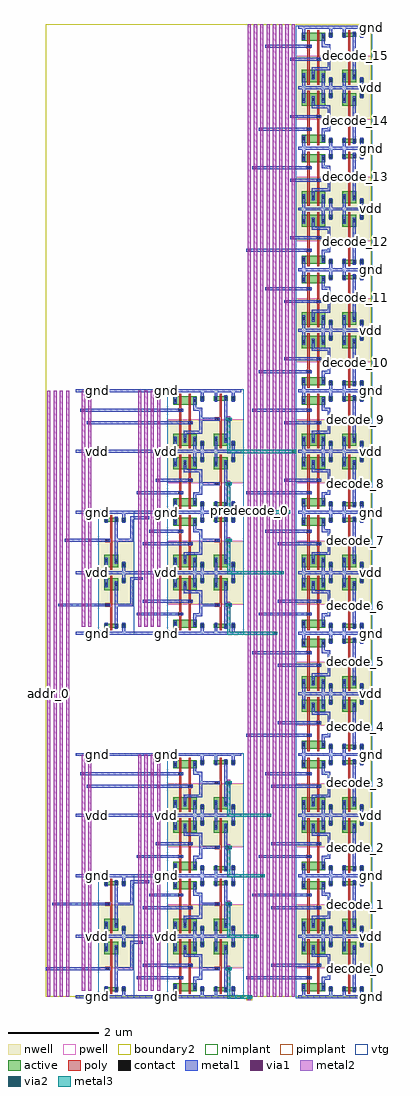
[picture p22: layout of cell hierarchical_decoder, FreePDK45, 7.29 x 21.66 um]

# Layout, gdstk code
import gdstk
lib = gdstk.Library(unit=1e-6, precision=5e-10)
def R(c, l, rs):  # rectangles x0, y0, x1, y1
    for r in rs: c.add(gdstk.rectangle(r[:2], r[2:], *l))
def A(c, l, x, y, w, h, nx, ny, dx, dy):  # array of equal rectangles
    R(c, l, [(x+i*dx, y+j*dy, x+i*dx+w, y+j*dy+h) for i in range(nx) for j in range(ny)])
active = (1, 0)
pwell = (2, 0)
nwell = (3, 0)
nimplant = (4, 0)
pimplant = (5, 0)
vtg = (6, 0)
poly = (9, 0)
contact = (10, 0)
metal1 = (11, 0)
via1 = (12, 0)
metal2 = (13, 0)
via2 = (14, 0)
metal3 = (15, 0)
boundary2 = (239, 0)

contact_11 = lib.new_cell('contact_11')
R(contact_11, active, [(0,0.0225,0.09,0.1125)])
R(contact_11, nwell, [(-0.055,-0.0325,0.145,0.1675)])
R(contact_11, pimplant, [(0,0.0225,0.09,0.1125)])
R(contact_11, contact, [(0.0125,0.035,0.0775,0.1)])
R(contact_11, metal1, [(0.0125,0,0.0775,0.135)])
R(contact_11, boundary2, [(-0.055,-0.0325,0.145,0.1675)])

pmos_m1_w0_270_sm1_dm1_d = lib.new_cell('pmos_m1_w0_270_sm1_dm1_da_p')
R(pmos_m1_w0_270_sm1_dm1_d, active, [(0,0,0.305,0.27)])
R(pmos_m1_w0_270_sm1_dm1_d, nwell, [(-0.08,-0.08,0.385,0.35)])
R(pmos_m1_w0_270_sm1_dm1_d, pimplant, [(0,0,0.305,0.27)])
R(pmos_m1_w0_270_sm1_dm1_d, vtg, [(-0.08,-0.08,0.385,0.35)])
R(pmos_m1_w0_270_sm1_dm1_d, poly, [(0.1275,-0.055,0.1775,0.325), (0.1275,-0.055,0.1775,0.325)])
R(pmos_m1_w0_270_sm1_dm1_d, metal1, [(0.0125,0.0675,0.0775,0.2025), (0.2275,0.0675,0.2925,0.2025)])
R(pmos_m1_w0_270_sm1_dm1_d, boundary2, [(-0.08,-0.08,0.385,0.35)])
pmos_m1_w0_270_sm1_dm1_d.add(gdstk.Reference(contact_11, (0,0.0675)))
pmos_m1_w0_270_sm1_dm1_d.add(gdstk.Reference(contact_11, (0.215,0.0675)))
pmos_m1_w0_270_sm1_dm1_d.add(gdstk.Label('G', (0.1525,0.135), layer=9, texttype=0))
pmos_m1_w0_270_sm1_dm1_d.add(gdstk.Label('S', (0.045,0.135), layer=11, texttype=0))
pmos_m1_w0_270_sm1_dm1_d.add(gdstk.Label('D', (0.26,0.135), layer=11, texttype=0))

contact_10 = lib.new_cell('contact_10')
R(contact_10, active, [(0,0.0225,0.09,0.1125)])
R(contact_10, pwell, [(-0.055,-0.0325,0.145,0.1675)])
R(contact_10, nimplant, [(0,0.0225,0.09,0.1125)])
R(contact_10, contact, [(0.0125,0.035,0.0775,0.1)])
R(contact_10, metal1, [(0.0125,0,0.0775,0.135)])
R(contact_10, boundary2, [(-0.055,-0.0325,0.145,0.1675)])

nmos_m1_w0_090_sm1_dm1_d = lib.new_cell('nmos_m1_w0_090_sm1_dm1_da_p')
R(nmos_m1_w0_090_sm1_dm1_d, active, [(0,0,0.305,0.09)])
R(nmos_m1_w0_090_sm1_dm1_d, pwell, [(-0.08,-0.08,0.385,0.17)])
R(nmos_m1_w0_090_sm1_dm1_d, nimplant, [(0,0,0.305,0.09)])
R(nmos_m1_w0_090_sm1_dm1_d, vtg, [(-0.08,-0.08,0.385,0.17)])
R(nmos_m1_w0_090_sm1_dm1_d, poly, [(0.1275,-0.055,0.1775,0.145), (0.1275,-0.055,0.1775,0.145)])
R(nmos_m1_w0_090_sm1_dm1_d, metal1, [(0.0125,-0.0225,0.0775,0.1125), (0.2275,-0.0225,0.2925,0.1125)])
R(nmos_m1_w0_090_sm1_dm1_d, boundary2, [(-0.08,-0.08,0.385,0.17)])
nmos_m1_w0_090_sm1_dm1_d.add(gdstk.Reference(contact_10, (0,-0.0225)))
nmos_m1_w0_090_sm1_dm1_d.add(gdstk.Reference(contact_10, (0.215,-0.0225)))
nmos_m1_w0_090_sm1_dm1_d.add(gdstk.Label('G', (0.1525,0.045), layer=9, texttype=0))
nmos_m1_w0_090_sm1_dm1_d.add(gdstk.Label('S', (0.045,0.045), layer=11, texttype=0))
nmos_m1_w0_090_sm1_dm1_d.add(gdstk.Label('D', (0.26,0.045), layer=11, texttype=0))

contact_12 = lib.new_cell('contact_12')
R(contact_12, active, [(0,0.0225,0.09,0.1125)])
R(contact_12, nwell, [(-0.055,-0.0325,0.145,0.1675)])
R(contact_12, nimplant, [(0,0.0225,0.09,0.1125)])
R(contact_12, contact, [(0.0125,0.035,0.0775,0.1)])
R(contact_12, metal1, [(0.0125,0,0.0775,0.135)])
R(contact_12, boundary2, [(-0.055,-0.0325,0.145,0.1675)])

contact_13 = lib.new_cell('contact_13')
R(contact_13, active, [(0,0.0225,0.09,0.1125)])
R(contact_13, pwell, [(-0.055,-0.0325,0.145,0.1675)])
R(contact_13, pimplant, [(0,0.0225,0.09,0.1125)])
R(contact_13, contact, [(0.0125,0.035,0.0775,0.1)])
R(contact_13, metal1, [(0.0125,0,0.0775,0.135)])
R(contact_13, boundary2, [(-0.055,-0.0325,0.145,0.1675)])

contact_14 = lib.new_cell('contact_14')
R(contact_14, poly, [(0.03,0,0.105,0.075)])
R(contact_14, contact, [(0.035,0.005,0.1,0.07)])
R(contact_14, metal1, [(0,0.005,0.135,0.07)])
R(contact_14, boundary2, [(0,0,0.135,0.075)])

pinv = lib.new_cell('pinv')
R(pinv, pwell, [(-0.055,-0.0325,0.7425,0.645)])
R(pinv, nwell, [(-0.055,0.645,0.7425,1.38)])
R(pinv, vtg, [(-0.055,-0.0325,0.7425,0.645), (-0.055,0.645,0.7425,1.38)])
R(pinv, poly, [(0.2075,0.27,0.2575,0.895), (0.14,0.59,0.2075,0.665)])
R(pinv, metal1, [(0,-0.0325,0.6875,0.0325), (0.0925,-0.0325,0.1575,0.1025), (0.4775,0,0.5425,0.17), (0.3075,0.1025,0.3725,1.1525), (0.0725,0.595,0.2075,0.66), (0.34,0.595,0.405,0.66), (0.0925,1.0175,0.1575,1.3775), (0.4775,1.175,0.5425,1.345), (0,1.3125,0.6875,1.3775)])
R(pinv, boundary2, [(0,0,0.6875,1.345), (0,0,0.6875,1.345)])
pinv.add(gdstk.Reference(pmos_m1_w0_270_sm1_dm1_d, (0.08,0.95)))
pinv.add(gdstk.Reference(nmos_m1_w0_090_sm1_dm1_d, (0.08,0.125)))
pinv.add(gdstk.Reference(contact_12, (0.465,1.1075)))
pinv.add(gdstk.Reference(contact_13, (0.465,0.1025)))
pinv.add(gdstk.Reference(contact_14, (0.0725,0.59)))
pinv.add(gdstk.Label('A', (0.14,0.6275), layer=11, texttype=0))
pinv.add(gdstk.Label('Z', (0.3725,0.6275), layer=11, texttype=0))
pinv.add(gdstk.Label('gnd', (0.344,0), layer=11, texttype=0))
pinv.add(gdstk.Label('vdd', (0.344,1.345), layer=11, texttype=0))

pmos_m1_w0_270_sm1_dm1 = lib.new_cell('pmos_m1_w0_270_sm1_dm1')
R(pmos_m1_w0_270_sm1_dm1, active, [(0,0,0.305,0.27)])
R(pmos_m1_w0_270_sm1_dm1, nwell, [(-0.08,-0.08,0.385,0.35)])
R(pmos_m1_w0_270_sm1_dm1, pimplant, [(0,0,0.305,0.27)])
R(pmos_m1_w0_270_sm1_dm1, vtg, [(-0.08,-0.08,0.385,0.35)])
R(pmos_m1_w0_270_sm1_dm1, poly, [(0.1275,-0.055,0.1775,0.325), (0.1275,-0.055,0.1775,0.325)])
R(pmos_m1_w0_270_sm1_dm1, metal1, [(0.0125,0.0675,0.0775,0.2025), (0.2275,0.0675,0.2925,0.2025)])
R(pmos_m1_w0_270_sm1_dm1, boundary2, [(-0.08,-0.08,0.385,0.35)])
pmos_m1_w0_270_sm1_dm1.add(gdstk.Reference(contact_11, (0,0.0675)))
pmos_m1_w0_270_sm1_dm1.add(gdstk.Reference(contact_11, (0.215,0.0675)))
pmos_m1_w0_270_sm1_dm1.add(gdstk.Label('G', (0.1525,0.135), layer=9, texttype=0))
pmos_m1_w0_270_sm1_dm1.add(gdstk.Label('S', (0.045,0.135), layer=11, texttype=0))
pmos_m1_w0_270_sm1_dm1.add(gdstk.Label('D', (0.26,0.135), layer=11, texttype=0))

nmos_m1_w0_180_sm1_dacti = lib.new_cell('nmos_m1_w0_180_sm1_dactive')
R(nmos_m1_w0_180_sm1_dacti, active, [(0,0,0.305,0.18), (0.215,0.045,0.305,0.135)])
R(nmos_m1_w0_180_sm1_dacti, pwell, [(-0.08,-0.08,0.385,0.26)])
R(nmos_m1_w0_180_sm1_dacti, nimplant, [(0,0,0.305,0.18)])
R(nmos_m1_w0_180_sm1_dacti, vtg, [(-0.08,-0.08,0.385,0.26)])
R(nmos_m1_w0_180_sm1_dacti, poly, [(0.1275,-0.055,0.1775,0.235), (0.1275,-0.055,0.1775,0.235)])
R(nmos_m1_w0_180_sm1_dacti, metal1, [(0.0125,0.0225,0.0775,0.1575)])
R(nmos_m1_w0_180_sm1_dacti, boundary2, [(-0.08,-0.08,0.385,0.26)])
nmos_m1_w0_180_sm1_dacti.add(gdstk.Reference(contact_10, (0,0.0225)))
nmos_m1_w0_180_sm1_dacti.add(gdstk.Label('G', (0.1525,0.09), layer=9, texttype=0))
nmos_m1_w0_180_sm1_dacti.add(gdstk.Label('S', (0.045,0.09), layer=11, texttype=0))
nmos_m1_w0_180_sm1_dacti.add(gdstk.Label('D', (0.26,0.09), layer=1, texttype=0))

nmos_m1_w0_180_sactive_d = lib.new_cell('nmos_m1_w0_180_sactive_dm1')
R(nmos_m1_w0_180_sactive_d, active, [(0,0,0.305,0.18), (0,0.045,0.09,0.135)])
R(nmos_m1_w0_180_sactive_d, pwell, [(-0.08,-0.08,0.385,0.26)])
R(nmos_m1_w0_180_sactive_d, nimplant, [(0,0,0.305,0.18)])
R(nmos_m1_w0_180_sactive_d, vtg, [(-0.08,-0.08,0.385,0.26)])
R(nmos_m1_w0_180_sactive_d, poly, [(0.1275,-0.055,0.1775,0.235), (0.1275,-0.055,0.1775,0.235)])
R(nmos_m1_w0_180_sactive_d, metal1, [(0.2275,0.0225,0.2925,0.1575)])
R(nmos_m1_w0_180_sactive_d, boundary2, [(-0.08,-0.08,0.385,0.26)])
nmos_m1_w0_180_sactive_d.add(gdstk.Reference(contact_10, (0.215,0.0225)))
nmos_m1_w0_180_sactive_d.add(gdstk.Label('G', (0.1525,0.09), layer=9, texttype=0))
nmos_m1_w0_180_sactive_d.add(gdstk.Label('S', (0.045,0.09), layer=1, texttype=0))
nmos_m1_w0_180_sactive_d.add(gdstk.Label('D', (0.26,0.09), layer=11, texttype=0))

pnand2 = lib.new_cell('pnand2')
R(pnand2, pwell, [(-0.055,-0.0325,0.9575,0.645)])
R(pnand2, nwell, [(-0.055,0.645,0.9575,1.38)])
R(pnand2, vtg, [(-0.055,-0.0325,0.9575,0.645), (-0.055,0.645,0.9575,1.38)])
R(pnand2, poly, [(0.2075,0.36,0.2575,0.895), (0.4225,0.36,0.4725,0.895), (0.2075,0.39,0.2325,0.465), (0.4225,0.67,0.4475,0.745)])
R(pnand2, metal1, [(0,-0.0325,0.9025,0.0325), (0.0925,-0.0325,0.1575,0.1475), (0.6925,0,0.7575,0.17), (0.5225,0.2825,0.5875,0.4125), (0.5225,0.38,0.5875,0.445), (0.555,0.38,0.685,0.445), (0.6525,0.38,0.7175,0.445), (0.165,0.395,0.3,0.46), (0.6525,0.4125,0.7175,0.92), (0.38,0.675,0.515,0.74), (0.3075,0.8875,0.3725,0.9525), (0.34,0.8875,0.685,0.9525), (0.6525,0.8875,0.7175,0.9525), (0.3075,0.92,0.3725,1.0175), (0.0925,1.0175,0.1575,1.3775), (0.5225,1.0175,0.5875,1.3775), (0.6925,1.175,0.7575,1.345), (0,1.3125,0.9025,1.3775)])
R(pnand2, boundary2, [(0,0,0.9025,1.345), (0,0,0.9025,1.345)])
pnand2.add(gdstk.Reference(pmos_m1_w0_270_sm1_dm1, (0.08,0.95)))
pnand2.add(gdstk.Reference(pmos_m1_w0_270_sm1_dm1, (0.295,0.95)))
pnand2.add(gdstk.Reference(nmos_m1_w0_180_sm1_dacti, (0.08,0.125)))
pnand2.add(gdstk.Reference(nmos_m1_w0_180_sactive_d, (0.295,0.125)))
pnand2.add(gdstk.Reference(contact_12, (0.68,1.1075)))
pnand2.add(gdstk.Reference(contact_13, (0.68,0.1025)))
pnand2.add(gdstk.Reference(contact_14, (0.165,0.39)))
pnand2.add(gdstk.Reference(contact_14, (0.38,0.67)))
pnand2.add(gdstk.Label('Z', (0.685,0.92), layer=11, texttype=0))
pnand2.add(gdstk.Label('gnd', (0.451,0), layer=11, texttype=0))
pnand2.add(gdstk.Label('vdd', (0.451,1.345), layer=11, texttype=0))
pnand2.add(gdstk.Label('A', (0.2325,0.4275), layer=11, texttype=0))
pnand2.add(gdstk.Label('B', (0.4475,0.7075), layer=11, texttype=0))

and2_dec = lib.new_cell('and2_dec')
R(and2_dec, metal1, [(0,-0.0325,1.59,0.0325), (0.165,0.395,0.3,0.46), (0.6525,0.595,0.7175,0.66), (0.685,0.595,1.0425,0.66), (1.2425,0.595,1.3075,0.66), (0.6525,0.6275,0.7175,0.92), (0.38,0.675,0.515,0.74), (0,1.3125,1.59,1.3775)])
R(and2_dec, boundary2, [(0,0,1.59,1.345)])
and2_dec.add(gdstk.Reference(pnand2, (0,0)))
and2_dec.add(gdstk.Reference(pinv, (0.9025,0)))
and2_dec.add(gdstk.Label('Z', (1.275,0.6275), layer=11, texttype=0))
and2_dec.add(gdstk.Label('A', (0.2325,0.4275), layer=11, texttype=0))
and2_dec.add(gdstk.Label('B', (0.4475,0.7075), layer=11, texttype=0))
and2_dec.add(gdstk.Label('gnd', (0.795,0), layer=11, texttype=0))
and2_dec.add(gdstk.Label('vdd', (0.795,1.345), layer=11, texttype=0))

contact_15 = lib.new_cell('contact_15')
R(contact_15, metal1, [(0,0.035,0.135,0.1)])
R(contact_15, via1, [(0.035,0.035,0.1,0.1)])
R(contact_15, metal2, [(0.0325,0,0.1025,0.135)])
R(contact_15, boundary2, [(0,0,0.135,0.135)])

contact_17 = lib.new_cell('contact_17')
R(contact_17, metal1, [(0,0.035,0.135,0.1)])
R(contact_17, via1, [(0.035,0.035,0.1,0.1)])
R(contact_17, metal2, [(0.0325,0,0.1025,0.135)])
R(contact_17, boundary2, [(0,0,0.135,0.135)])

contact_6 = lib.new_cell('contact_6')
R(contact_6, metal2, [(0.0325,0,0.1025,0.135)])
R(contact_6, via2, [(0.035,0.035,0.1,0.1)])
R(contact_6, metal3, [(0,0.0325,0.135,0.1025)])
R(contact_6, boundary2, [(0,0,0.135,0.135)])

hierarchical_predecode2x = lib.new_cell('hierarchical_predecode2x4')
R(hierarchical_predecode2x, metal1, [(0,-0.0325,3.6775,0.0325), (1.4225,0.395,2.32,0.46), (2.2875,0.395,2.3525,0.46), (0.175,0.595,0.7,0.66), (0.6675,0.595,0.7325,0.66), (0.9325,0.595,0.9975,0.66), (0.965,0.595,1.2475,0.66), (1.215,0.595,1.28,0.66), (3.33,0.595,3.395,0.66), (1.215,0.6275,1.28,1.215), (1.5625,0.675,2.535,0.74), (2.5025,0.675,2.5675,0.74), (1.215,1.1825,1.28,1.2475), (1.2475,1.1825,1.4225,1.2475), (0,1.3125,3.6775,1.3775), (0,1.3125,3.6775,1.3775), (1.5625,1.95,2.535,2.015), (2.5025,1.95,2.5675,2.015), (0.315,2.03,0.7,2.095), (0.6675,2.03,0.7325,2.095), (0.9325,2.03,0.9975,2.095), (0.965,2.03,1.2475,2.095), (1.215,2.03,1.28,2.095), (3.33,2.03,3.395,2.095), (1.215,2.0625,1.28,2.56), (1.7025,2.23,2.32,2.295), (2.2875,2.23,2.3525,2.295), (1.215,2.5275,1.28,2.5925), (1.2475,2.5275,1.5625,2.5925), (0,2.6575,3.6775,2.7225), (0,2.6575,3.6775,2.7225), (1.4225,3.085,2.32,3.15), (2.2875,3.085,2.3525,3.15), (3.33,3.285,3.395,3.35), (1.8425,3.365,2.535,3.43), (2.5025,3.365,2.5675,3.43), (0,4.0025,3.6775,4.0675), (0,4.0025,3.6775,4.0675), (0.315,4.64,1.8425,4.705), (1.8425,4.64,2.535,4.705), (2.5025,4.64,2.5675,4.705), (3.33,4.72,3.395,4.785), (0.175,4.92,1.7025,4.985), (1.7025,4.92,2.32,4.985), (2.2875,4.92,2.3525,4.985), (0,5.3475,3.6775,5.4125)])
A(hierarchical_predecode2x, metal2, 1.3875, 0.14, 0.07, 5.24, 4, 1, 0.14, 0)
R(hierarchical_predecode2x, metal2, [(0.14,0.14,0.21,5.38), (0.28,0.14,0.35,5.38), (0.14,0.56,0.21,0.695), (0.28,1.995,0.35,2.13)])
A(hierarchical_predecode2x, metal3, 0.4225, -0.0675, 0.135, 0.135, 1, 5, 0, 1.345)
A(hierarchical_predecode2x, metal3, 1.95, -0.0675, 0.135, 0.135, 1, 5, 0, 1.345)
R(hierarchical_predecode2x, boundary2, [(0,0,3.6775,5.38)])
hierarchical_predecode2x.add(gdstk.Reference(pinv, (0.56,0)))
hierarchical_predecode2x.add(gdstk.Reference(pinv, (0.56,2.69), x_reflection=True))
hierarchical_predecode2x.add(gdstk.Reference(and2_dec, (2.0875,0)))
hierarchical_predecode2x.add(gdstk.Reference(and2_dec, (2.0875,2.69), x_reflection=True))
hierarchical_predecode2x.add(gdstk.Reference(and2_dec, (2.0875,2.69)))
hierarchical_predecode2x.add(gdstk.Reference(and2_dec, (2.0875,5.38), x_reflection=True))
hierarchical_predecode2x.add(gdstk.Reference(contact_15, (0.1075,0.56)))
hierarchical_predecode2x.add(gdstk.Reference(contact_15, (0.2475,1.995)))
hierarchical_predecode2x.add(gdstk.Reference(contact_15, (1.355,0.36)))
hierarchical_predecode2x.add(gdstk.Reference(contact_15, (1.495,0.64)))
hierarchical_predecode2x.add(gdstk.Reference(contact_15, (1.635,2.195)))
hierarchical_predecode2x.add(gdstk.Reference(contact_15, (1.495,1.915)))
hierarchical_predecode2x.add(gdstk.Reference(contact_15, (1.355,3.05)))
hierarchical_predecode2x.add(gdstk.Reference(contact_15, (1.775,3.33)))
hierarchical_predecode2x.add(gdstk.Reference(contact_15, (1.635,4.885)))
hierarchical_predecode2x.add(gdstk.Reference(contact_15, (1.775,4.605)))
hierarchical_predecode2x.add(gdstk.Reference(contact_15, (1.355,1.1475)))
hierarchical_predecode2x.add(gdstk.Reference(contact_15, (1.495,2.4925)))
hierarchical_predecode2x.add(gdstk.Reference(contact_17, (0.1075,4.885)))
hierarchical_predecode2x.add(gdstk.Reference(contact_17, (1.635,4.885)))
hierarchical_predecode2x.add(gdstk.Reference(contact_17, (0.2475,4.605)))
hierarchical_predecode2x.add(gdstk.Reference(contact_17, (1.775,4.605)))
hierarchical_predecode2x.add(gdstk.Reference(contact_17, (0.4225,1.2775)))
hierarchical_predecode2x.add(gdstk.Reference(contact_6, (0.4225,1.2775)))
hierarchical_predecode2x.add(gdstk.Reference(contact_17, (1.95,1.2775)))
hierarchical_predecode2x.add(gdstk.Reference(contact_6, (1.95,1.2775)))
hierarchical_predecode2x.add(gdstk.Reference(contact_17, (0.4225,-0.0675)))
hierarchical_predecode2x.add(gdstk.Reference(contact_6, (0.4225,-0.0675)))
hierarchical_predecode2x.add(gdstk.Reference(contact_17, (1.95,-0.0675)))
hierarchical_predecode2x.add(gdstk.Reference(contact_6, (1.95,-0.0675)))
hierarchical_predecode2x.add(gdstk.Reference(contact_17, (0.4225,1.2775)))
hierarchical_predecode2x.add(gdstk.Reference(contact_6, (0.4225,1.2775)))
hierarchical_predecode2x.add(gdstk.Reference(contact_17, (1.95,1.2775)))
hierarchical_predecode2x.add(gdstk.Reference(contact_6, (1.95,1.2775)))
hierarchical_predecode2x.add(gdstk.Reference(contact_17, (0.4225,2.6225)))
hierarchical_predecode2x.add(gdstk.Reference(contact_6, (0.4225,2.6225)))
hierarchical_predecode2x.add(gdstk.Reference(contact_17, (1.95,2.6225)))
hierarchical_predecode2x.add(gdstk.Reference(contact_6, (1.95,2.6225)))
hierarchical_predecode2x.add(gdstk.Reference(contact_17, (0.4225,3.9675)))
hierarchical_predecode2x.add(gdstk.Reference(contact_6, (0.4225,3.9675)))
hierarchical_predecode2x.add(gdstk.Reference(contact_17, (1.95,3.9675)))
hierarchical_predecode2x.add(gdstk.Reference(contact_6, (1.95,3.9675)))
hierarchical_predecode2x.add(gdstk.Reference(contact_17, (0.4225,2.6225)))
hierarchical_predecode2x.add(gdstk.Reference(contact_6, (0.4225,2.6225)))
hierarchical_predecode2x.add(gdstk.Reference(contact_17, (1.95,2.6225)))
hierarchical_predecode2x.add(gdstk.Reference(contact_6, (1.95,2.6225)))
hierarchical_predecode2x.add(gdstk.Reference(contact_17, (0.4225,3.9675)))
hierarchical_predecode2x.add(gdstk.Reference(contact_6, (0.4225,3.9675)))
hierarchical_predecode2x.add(gdstk.Reference(contact_17, (1.95,3.9675)))
hierarchical_predecode2x.add(gdstk.Reference(contact_6, (1.95,3.9675)))
hierarchical_predecode2x.add(gdstk.Reference(contact_17, (0.4225,5.3125)))
hierarchical_predecode2x.add(gdstk.Reference(contact_6, (0.4225,5.3125)))
hierarchical_predecode2x.add(gdstk.Reference(contact_17, (1.95,5.3125)))
hierarchical_predecode2x.add(gdstk.Reference(contact_6, (1.95,5.3125)))
hierarchical_predecode2x.add(gdstk.Label('in_0', (0.175,0.6275), layer=13, texttype=0))
hierarchical_predecode2x.add(gdstk.Label('in_1', (0.315,2.0625), layer=13, texttype=0))
hierarchical_predecode2x.add(gdstk.Label('out_0', (3.3625,0.6275), layer=11, texttype=0))
hierarchical_predecode2x.add(gdstk.Label('out_1', (3.3625,2.0625), layer=11, texttype=0))
hierarchical_predecode2x.add(gdstk.Label('out_2', (3.3625,3.3175), layer=11, texttype=0))
hierarchical_predecode2x.add(gdstk.Label('out_3', (3.3625,4.7525), layer=11, texttype=0))
hierarchical_predecode2x.add(gdstk.Label('vdd', (2.0175,4.035), layer=15, texttype=0))
hierarchical_predecode2x.add(gdstk.Label('vdd', (0.49,1.345), layer=15, texttype=0))
hierarchical_predecode2x.add(gdstk.Label('vdd', (0.49,4.035), layer=15, texttype=0))
hierarchical_predecode2x.add(gdstk.Label('vdd', (2.0175,1.345), layer=15, texttype=0))
hierarchical_predecode2x.add(gdstk.Label('gnd', (2.0175,2.69), layer=15, texttype=0))
hierarchical_predecode2x.add(gdstk.Label('gnd', (0.49,5.38), layer=15, texttype=0))
hierarchical_predecode2x.add(gdstk.Label('gnd', (2.0175,0), layer=15, texttype=0))
hierarchical_predecode2x.add(gdstk.Label('gnd', (2.0175,5.38), layer=15, texttype=0))
hierarchical_predecode2x.add(gdstk.Label('gnd', (0.49,2.69), layer=15, texttype=0))
hierarchical_predecode2x.add(gdstk.Label('gnd', (0.49,0), layer=15, texttype=0))

contact_19 = lib.new_cell('contact_19')
R(contact_19, metal2, [(0.0325,0,0.1025,0.135)])
R(contact_19, via2, [(0.035,0.035,0.1,0.1)])
R(contact_19, metal3, [(0,0.0325,0.135,0.1025)])
R(contact_19, boundary2, [(0,0,0.135,0.135)])

hierarchical_decoder = lib.new_cell('hierarchical_decoder')
A(hierarchical_decoder, metal1, 4.515, 0.395, 1.3175, 0.065, 1, 4, 0, 5.38)
A(hierarchical_decoder, metal1, 4.655, 2.23, 1.1775, 0.065, 1, 4, 0, 5.38)
A(hierarchical_decoder, metal1, 4.795, 3.085, 1.0375, 0.065, 1, 4, 0, 5.38)
A(hierarchical_decoder, metal1, 4.935, 4.92, 0.8975, 0.065, 1, 4, 0, 5.38)
R(hierarchical_decoder, metal1, [(5.8,0.395,5.865,0.46), (0.0675,0.595,0.8375,0.66), (6.8425,0.595,6.9075,0.66), (5.075,0.675,6.0475,0.74), (6.015,0.675,6.08,0.74), (5.075,1.95,6.0475,2.015), (6.015,1.95,6.08,2.015), (0.2075,2.03,0.9775,2.095), (6.8425,2.03,6.9075,2.095), (5.8,2.23,5.865,2.295), (5.8,3.085,5.865,3.15), (6.8425,3.285,6.9075,3.35), (5.075,3.365,6.0475,3.43), (6.015,3.365,6.08,3.43), (5.075,4.64,6.0475,4.705), (6.015,4.64,6.08,4.705), (6.8425,4.72,6.9075,4.785), (5.8,4.92,5.865,4.985), (5.8,5.775,5.865,5.84), (6.8425,5.975,6.9075,6.04), (5.215,6.055,6.0475,6.12), (6.015,6.055,6.08,6.12), (5.215,7.33,6.0475,7.395), (6.015,7.33,6.08,7.395), (6.8425,7.41,6.9075,7.475), (5.8,7.61,5.865,7.675), (5.8,8.465,5.865,8.53), (0.3475,8.665,0.8375,8.73), (6.8425,8.665,6.9075,8.73), (5.215,8.745,6.0475,8.81), (6.015,8.745,6.08,8.81), (5.215,10.02,6.0475,10.085), (6.015,10.02,6.08,10.085), (0.4875,10.1,0.9775,10.165), (6.8425,10.1,6.9075,10.165), (5.8,10.3,5.865,10.365), (5.8,11.155,5.865,11.22), (6.8425,11.355,6.9075,11.42), (5.355,11.435,6.0475,11.5), (6.015,11.435,6.08,11.5), (5.355,12.71,6.0475,12.775), (6.015,12.71,6.08,12.775), (6.8425,12.79,6.9075,12.855), (5.8,12.99,5.865,13.055), (5.8,13.845,5.865,13.91), (6.8425,14.045,6.9075,14.11), (5.355,14.125,6.0475,14.19), (6.015,14.125,6.08,14.19), (5.355,15.4,6.0475,15.465), (6.015,15.4,6.08,15.465), (6.8425,15.48,6.9075,15.545), (5.8,15.68,5.865,15.745), (5.8,16.535,5.865,16.6), (6.8425,16.735,6.9075,16.8), (5.495,16.815,6.0475,16.88), (6.015,16.815,6.08,16.88), (5.495,18.09,6.0475,18.155), (6.015,18.09,6.08,18.155), (6.8425,18.17,6.9075,18.235), (5.8,18.37,5.865,18.435), (5.8,19.225,5.865,19.29), (6.8425,19.425,6.9075,19.49), (5.495,19.505,6.0475,19.57), (6.015,19.505,6.08,19.57), (5.495,20.78,6.0475,20.845), (6.015,20.78,6.08,20.845), (6.8425,20.86,6.9075,20.925), (5.8,21.06,5.865,21.125)])
A(hierarchical_decoder, metal2, 0.0325, 0, 0.07, 13.45, 4, 1, 0.14, 0)
A(hierarchical_decoder, metal2, 4.48, 0, 0.07, 21.59, 8, 1, 0.14, 0)
A(hierarchical_decoder, metal3, 1.085, -0.0675, 0.135, 0.135, 1, 5, 0, 1.345)
A(hierarchical_decoder, metal3, 2.6125, -0.0675, 0.135, 0.135, 1, 5, 0, 1.345)
A(hierarchical_decoder, metal3, 7.155, -0.0675, 0.135, 0.135, 1, 6, 0, 1.345)
A(hierarchical_decoder, metal3, 4.0225, -0.035, 0.07, 0.07, 1, 4, 0, 1.345)
A(hierarchical_decoder, metal3, 7.155, 6.6575, 0.135, 0.135, 1, 11, 0, 1.345)
A(hierarchical_decoder, metal3, 1.085, 8.0025, 0.135, 0.135, 1, 5, 0, 1.345)
A(hierarchical_decoder, metal3, 2.6125, 8.0025, 0.135, 0.135, 1, 5, 0, 1.345)
A(hierarchical_decoder, metal3, 4.0225, 8.035, 0.07, 0.07, 1, 4, 0, 1.345)
R(hierarchical_decoder, metal3, [(4.0575,-0.035,4.515,0.035), (4.0225,0,4.0925,0.6275), (4.0575,1.31,4.655,1.38), (4.0225,1.345,4.0925,2.0625), (4.0575,2.655,4.795,2.725), (4.0225,2.69,4.0925,3.3175), (4.0575,4,4.935,4.07), (4.0225,4.035,4.0925,4.7525), (4.0575,8.035,5.075,8.105), (4.0225,8.07,4.0925,8.6975), (4.0575,9.38,5.215,9.45), (4.0225,9.415,4.0925,10.1325), (4.0575,10.725,5.355,10.795), (4.0225,10.76,4.0925,11.3875), (4.0575,12.07,5.495,12.14), (4.0225,12.105,4.0925,12.8225), (7.155,20.1075,7.29,20.2425), (7.155,21.4525,7.29,21.5875)])
R(hierarchical_decoder, boundary2, [(0,0,7.2225,21.59)])
hierarchical_decoder.add(gdstk.Reference(hierarchical_predecode2x, (0.6625,0)))
hierarchical_decoder.add(gdstk.Reference(hierarchical_predecode2x, (0.6625,8.07)))
hierarchical_decoder.add(gdstk.Reference(and2_dec, (5.6,0)))
hierarchical_decoder.add(gdstk.Reference(and2_dec, (5.6,2.69), x_reflection=True))
hierarchical_decoder.add(gdstk.Reference(and2_dec, (5.6,2.69)))
hierarchical_decoder.add(gdstk.Reference(and2_dec, (5.6,5.38), x_reflection=True))
hierarchical_decoder.add(gdstk.Reference(and2_dec, (5.6,5.38)))
hierarchical_decoder.add(gdstk.Reference(and2_dec, (5.6,8.07), x_reflection=True))
hierarchical_decoder.add(gdstk.Reference(and2_dec, (5.6,8.07)))
hierarchical_decoder.add(gdstk.Reference(and2_dec, (5.6,10.76), x_reflection=True))
hierarchical_decoder.add(gdstk.Reference(and2_dec, (5.6,10.76)))
hierarchical_decoder.add(gdstk.Reference(and2_dec, (5.6,13.45), x_reflection=True))
hierarchical_decoder.add(gdstk.Reference(and2_dec, (5.6,13.45)))
hierarchical_decoder.add(gdstk.Reference(and2_dec, (5.6,16.14), x_reflection=True))
hierarchical_decoder.add(gdstk.Reference(and2_dec, (5.6,16.14)))
hierarchical_decoder.add(gdstk.Reference(and2_dec, (5.6,18.83), x_reflection=True))
hierarchical_decoder.add(gdstk.Reference(and2_dec, (5.6,18.83)))
hierarchical_decoder.add(gdstk.Reference(and2_dec, (5.6,21.52), x_reflection=True))
hierarchical_decoder.add(gdstk.Reference(contact_17, (0.77,0.56)))
hierarchical_decoder.add(gdstk.Reference(contact_15, (0,0.56)))
hierarchical_decoder.add(gdstk.Reference(contact_17, (0.91,1.995)))
hierarchical_decoder.add(gdstk.Reference(contact_15, (0.14,1.995)))
hierarchical_decoder.add(gdstk.Reference(contact_17, (0.77,8.63)))
hierarchical_decoder.add(gdstk.Reference(contact_15, (0.28,8.63)))
hierarchical_decoder.add(gdstk.Reference(contact_17, (0.91,10.065)))
hierarchical_decoder.add(gdstk.Reference(contact_15, (0.42,10.065)))
hierarchical_decoder.add(gdstk.Reference(contact_15, (4.4475,0.36)))
hierarchical_decoder.add(gdstk.Reference(contact_15, (5.0075,0.64)))
hierarchical_decoder.add(gdstk.Reference(contact_15, (4.5875,2.195)))
hierarchical_decoder.add(gdstk.Reference(contact_15, (5.0075,1.915)))
hierarchical_decoder.add(gdstk.Reference(contact_15, (4.7275,3.05)))
hierarchical_decoder.add(gdstk.Reference(contact_15, (5.0075,3.33)))
hierarchical_decoder.add(gdstk.Reference(contact_15, (4.8675,4.885)))
hierarchical_decoder.add(gdstk.Reference(contact_15, (5.0075,4.605)))
hierarchical_decoder.add(gdstk.Reference(contact_15, (4.4475,5.74)))
hierarchical_decoder.add(gdstk.Reference(contact_15, (5.1475,6.02)))
hierarchical_decoder.add(gdstk.Reference(contact_15, (4.5875,7.575)))
hierarchical_decoder.add(gdstk.Reference(contact_15, (5.1475,7.295)))
hierarchical_decoder.add(gdstk.Reference(contact_15, (4.7275,8.43)))
hierarchical_decoder.add(gdstk.Reference(contact_15, (5.1475,8.71)))
hierarchical_decoder.add(gdstk.Reference(contact_15, (4.8675,10.265)))
hierarchical_decoder.add(gdstk.Reference(contact_15, (5.1475,9.985)))
hierarchical_decoder.add(gdstk.Reference(contact_15, (4.4475,11.12)))
hierarchical_decoder.add(gdstk.Reference(contact_15, (5.2875,11.4)))
hierarchical_decoder.add(gdstk.Reference(contact_15, (4.5875,12.955)))
hierarchical_decoder.add(gdstk.Reference(contact_15, (5.2875,12.675)))
hierarchical_decoder.add(gdstk.Reference(contact_15, (4.7275,13.81)))
hierarchical_decoder.add(gdstk.Reference(contact_15, (5.2875,14.09)))
hierarchical_decoder.add(gdstk.Reference(contact_15, (4.8675,15.645)))
hierarchical_decoder.add(gdstk.Reference(contact_15, (5.2875,15.365)))
hierarchical_decoder.add(gdstk.Reference(contact_15, (4.4475,16.5)))
hierarchical_decoder.add(gdstk.Reference(contact_15, (5.4275,16.78)))
hierarchical_decoder.add(gdstk.Reference(contact_15, (4.5875,18.335)))
hierarchical_decoder.add(gdstk.Reference(contact_15, (5.4275,18.055)))
hierarchical_decoder.add(gdstk.Reference(contact_15, (4.7275,19.19)))
hierarchical_decoder.add(gdstk.Reference(contact_15, (5.4275,19.47)))
hierarchical_decoder.add(gdstk.Reference(contact_15, (4.8675,21.025)))
hierarchical_decoder.add(gdstk.Reference(contact_15, (5.4275,20.745)))
hierarchical_decoder.add(gdstk.Reference(contact_17, (3.99,0.56)))
hierarchical_decoder.add(gdstk.Reference(contact_6, (3.99,0.56)))
hierarchical_decoder.add(gdstk.Reference(contact_19, (4.4475,-0.0675)))
hierarchical_decoder.add(gdstk.Reference(contact_17, (3.99,1.995)))
hierarchical_decoder.add(gdstk.Reference(contact_6, (3.99,1.995)))
hierarchical_decoder.add(gdstk.Reference(contact_19, (4.5875,1.2775)))
hierarchical_decoder.add(gdstk.Reference(contact_17, (3.99,3.25)))
hierarchical_decoder.add(gdstk.Reference(contact_6, (3.99,3.25)))
hierarchical_decoder.add(gdstk.Reference(contact_19, (4.7275,2.6225)))
hierarchical_decoder.add(gdstk.Reference(contact_17, (3.99,4.685)))
hierarchical_decoder.add(gdstk.Reference(contact_6, (3.99,4.685)))
hierarchical_decoder.add(gdstk.Reference(contact_19, (4.8675,3.9675)))
hierarchical_decoder.add(gdstk.Reference(contact_17, (3.99,8.63)))
hierarchical_decoder.add(gdstk.Reference(contact_6, (3.99,8.63)))
hierarchical_decoder.add(gdstk.Reference(contact_19, (5.0075,8.0025)))
hierarchical_decoder.add(gdstk.Reference(contact_17, (3.99,10.065)))
hierarchical_decoder.add(gdstk.Reference(contact_6, (3.99,10.065)))
hierarchical_decoder.add(gdstk.Reference(contact_19, (5.1475,9.3475)))
hierarchical_decoder.add(gdstk.Reference(contact_17, (3.99,11.32)))
hierarchical_decoder.add(gdstk.Reference(contact_6, (3.99,11.32)))
hierarchical_decoder.add(gdstk.Reference(contact_19, (5.2875,10.6925)))
hierarchical_decoder.add(gdstk.Reference(contact_17, (3.99,12.755)))
hierarchical_decoder.add(gdstk.Reference(contact_6, (3.99,12.755)))
hierarchical_decoder.add(gdstk.Reference(contact_19, (5.4275,12.0375)))
hierarchical_decoder.add(gdstk.Reference(contact_17, (7.155,1.2775)))
hierarchical_decoder.add(gdstk.Reference(contact_6, (7.155,1.2775)))
hierarchical_decoder.add(gdstk.Reference(contact_17, (7.155,-0.0675)))
hierarchical_decoder.add(gdstk.Reference(contact_6, (7.155,-0.0675)))
hierarchical_decoder.add(gdstk.Reference(contact_17, (7.155,1.2775)))
hierarchical_decoder.add(gdstk.Reference(contact_6, (7.155,1.2775)))
hierarchical_decoder.add(gdstk.Reference(contact_17, (7.155,2.6225)))
hierarchical_decoder.add(gdstk.Reference(contact_6, (7.155,2.6225)))
hierarchical_decoder.add(gdstk.Reference(contact_17, (7.155,3.9675)))
hierarchical_decoder.add(gdstk.Reference(contact_6, (7.155,3.9675)))
hierarchical_decoder.add(gdstk.Reference(contact_17, (7.155,2.6225)))
hierarchical_decoder.add(gdstk.Reference(contact_6, (7.155,2.6225)))
hierarchical_decoder.add(gdstk.Reference(contact_17, (7.155,3.9675)))
hierarchical_decoder.add(gdstk.Reference(contact_6, (7.155,3.9675)))
hierarchical_decoder.add(gdstk.Reference(contact_17, (7.155,5.3125)))
hierarchical_decoder.add(gdstk.Reference(contact_6, (7.155,5.3125)))
hierarchical_decoder.add(gdstk.Reference(contact_17, (7.155,6.6575)))
hierarchical_decoder.add(gdstk.Reference(contact_6, (7.155,6.6575)))
hierarchical_decoder.add(gdstk.Reference(contact_17, (7.155,5.3125)))
hierarchical_decoder.add(gdstk.Reference(contact_6, (7.155,5.3125)))
hierarchical_decoder.add(gdstk.Reference(contact_17, (7.155,6.6575)))
hierarchical_decoder.add(gdstk.Reference(contact_6, (7.155,6.6575)))
hierarchical_decoder.add(gdstk.Reference(contact_17, (7.155,8.0025)))
hierarchical_decoder.add(gdstk.Reference(contact_6, (7.155,8.0025)))
hierarchical_decoder.add(gdstk.Reference(contact_17, (7.155,9.3475)))
hierarchical_decoder.add(gdstk.Reference(contact_6, (7.155,9.3475)))
hierarchical_decoder.add(gdstk.Reference(contact_17, (7.155,8.0025)))
hierarchical_decoder.add(gdstk.Reference(contact_6, (7.155,8.0025)))
hierarchical_decoder.add(gdstk.Reference(contact_17, (7.155,9.3475)))
hierarchical_decoder.add(gdstk.Reference(contact_6, (7.155,9.3475)))
hierarchical_decoder.add(gdstk.Reference(contact_17, (7.155,10.6925)))
hierarchical_decoder.add(gdstk.Reference(contact_6, (7.155,10.6925)))
hierarchical_decoder.add(gdstk.Reference(contact_17, (7.155,12.0375)))
hierarchical_decoder.add(gdstk.Reference(contact_6, (7.155,12.0375)))
hierarchical_decoder.add(gdstk.Reference(contact_17, (7.155,10.6925)))
hierarchical_decoder.add(gdstk.Reference(contact_6, (7.155,10.6925)))
hierarchical_decoder.add(gdstk.Reference(contact_17, (7.155,12.0375)))
hierarchical_decoder.add(gdstk.Reference(contact_6, (7.155,12.0375)))
hierarchical_decoder.add(gdstk.Reference(contact_17, (7.155,13.3825)))
hierarchical_decoder.add(gdstk.Reference(contact_6, (7.155,13.3825)))
hierarchical_decoder.add(gdstk.Reference(contact_17, (7.155,14.7275)))
hierarchical_decoder.add(gdstk.Reference(contact_6, (7.155,14.7275)))
hierarchical_decoder.add(gdstk.Reference(contact_17, (7.155,13.3825)))
hierarchical_decoder.add(gdstk.Reference(contact_6, (7.155,13.3825)))
hierarchical_decoder.add(gdstk.Reference(contact_17, (7.155,14.7275)))
hierarchical_decoder.add(gdstk.Reference(contact_6, (7.155,14.7275)))
hierarchical_decoder.add(gdstk.Reference(contact_17, (7.155,16.0725)))
hierarchical_decoder.add(gdstk.Reference(contact_6, (7.155,16.0725)))
hierarchical_decoder.add(gdstk.Reference(contact_17, (7.155,17.4175)))
hierarchical_decoder.add(gdstk.Reference(contact_6, (7.155,17.4175)))
hierarchical_decoder.add(gdstk.Reference(contact_17, (7.155,16.0725)))
hierarchical_decoder.add(gdstk.Reference(contact_6, (7.155,16.0725)))
hierarchical_decoder.add(gdstk.Reference(contact_17, (7.155,17.4175)))
hierarchical_decoder.add(gdstk.Reference(contact_6, (7.155,17.4175)))
hierarchical_decoder.add(gdstk.Reference(contact_17, (7.155,18.7625)))
hierarchical_decoder.add(gdstk.Reference(contact_6, (7.155,18.7625)))
hierarchical_decoder.add(gdstk.Reference(contact_17, (7.155,20.1075)))
hierarchical_decoder.add(gdstk.Reference(contact_6, (7.155,20.1075)))
hierarchical_decoder.add(gdstk.Reference(contact_17, (7.155,18.7625)))
hierarchical_decoder.add(gdstk.Reference(contact_6, (7.155,18.7625)))
hierarchical_decoder.add(gdstk.Reference(contact_17, (7.155,20.1075)))
hierarchical_decoder.add(gdstk.Reference(contact_6, (7.155,20.1075)))
hierarchical_decoder.add(gdstk.Reference(contact_17, (7.155,21.4525)))
hierarchical_decoder.add(gdstk.Reference(contact_6, (7.155,21.4525)))
hierarchical_decoder.add(gdstk.Label('addr_0', (0.0675,6.725), layer=13, texttype=0))
hierarchical_decoder.add(gdstk.Label('addr_1', (0.2075,6.725), layer=13, texttype=0))
hierarchical_decoder.add(gdstk.Label('addr_2', (0.3475,6.725), layer=13, texttype=0))
hierarchical_decoder.add(gdstk.Label('addr_3', (0.4875,6.725), layer=13, texttype=0))
hierarchical_decoder.add(gdstk.Label('decode_0', (6.875,0.6275), layer=11, texttype=0))
hierarchical_decoder.add(gdstk.Label('decode_1', (6.875,2.0625), layer=11, texttype=0))
hierarchical_decoder.add(gdstk.Label('decode_2', (6.875,3.3175), layer=11, texttype=0))
hierarchical_decoder.add(gdstk.Label('decode_3', (6.875,4.7525), layer=11, texttype=0))
hierarchical_decoder.add(gdstk.Label('decode_4', (6.875,6.0075), layer=11, texttype=0))
hierarchical_decoder.add(gdstk.Label('decode_5', (6.875,7.4425), layer=11, texttype=0))
hierarchical_decoder.add(gdstk.Label('decode_6', (6.875,8.6975), layer=11, texttype=0))
hierarchical_decoder.add(gdstk.Label('decode_7', (6.875,10.1325), layer=11, texttype=0))
hierarchical_decoder.add(gdstk.Label('decode_8', (6.875,11.3875), layer=11, texttype=0))
hierarchical_decoder.add(gdstk.Label('decode_9', (6.875,12.8225), layer=11, texttype=0))
hierarchical_decoder.add(gdstk.Label('decode_10', (6.875,14.0775), layer=11, texttype=0))
hierarchical_decoder.add(gdstk.Label('decode_11', (6.875,15.5125), layer=11, texttype=0))
hierarchical_decoder.add(gdstk.Label('decode_12', (6.875,16.7675), layer=11, texttype=0))
hierarchical_decoder.add(gdstk.Label('decode_13', (6.875,18.2025), layer=11, texttype=0))
hierarchical_decoder.add(gdstk.Label('decode_14', (6.875,19.4575), layer=11, texttype=0))
hierarchical_decoder.add(gdstk.Label('decode_15', (6.875,20.8925), layer=11, texttype=0))
hierarchical_decoder.add(gdstk.Label('predecode_0', (4.515,10.795), layer=13, texttype=0))
hierarchical_decoder.add(gdstk.Label('predecode_1', (4.655,10.795), layer=13, texttype=0))
hierarchical_decoder.add(gdstk.Label('predecode_2', (4.795,10.795), layer=13, texttype=0))
hierarchical_decoder.add(gdstk.Label('predecode_3', (4.935,10.795), layer=13, texttype=0))
hierarchical_decoder.add(gdstk.Label('predecode_4', (5.075,10.795), layer=13, texttype=0))
hierarchical_decoder.add(gdstk.Label('predecode_5', (5.215,10.795), layer=13, texttype=0))
hierarchical_decoder.add(gdstk.Label('predecode_6', (5.355,10.795), layer=13, texttype=0))
hierarchical_decoder.add(gdstk.Label('predecode_7', (5.495,10.795), layer=13, texttype=0))
hierarchical_decoder.add(gdstk.Label('vdd', (7.2225,17.485), layer=15, texttype=0))
hierarchical_decoder.add(gdstk.Label('vdd', (7.2225,14.795), layer=15, texttype=0))
hierarchical_decoder.add(gdstk.Label('vdd', (2.68,1.345), layer=15, texttype=0))
hierarchical_decoder.add(gdstk.Label('vdd', (7.2225,4.035), layer=15, texttype=0))
hierarchical_decoder.add(gdstk.Label('vdd', (1.1525,4.035), layer=15, texttype=0))
hierarchical_decoder.add(gdstk.Label('vdd', (7.2225,6.725), layer=15, texttype=0))
hierarchical_decoder.add(gdstk.Label('vdd', (7.2225,20.175), layer=15, texttype=0))
hierarchical_decoder.add(gdstk.Label('vdd', (1.1525,12.105), layer=15, texttype=0))
hierarchical_decoder.add(gdstk.Label('vdd', (2.68,9.415), layer=15, texttype=0))
hierarchical_decoder.add(gdstk.Label('vdd', (7.2225,12.105), layer=15, texttype=0))
hierarchical_decoder.add(gdstk.Label('vdd', (2.68,4.035), layer=15, texttype=0))
hierarchical_decoder.add(gdstk.Label('vdd', (7.2225,20.175), layer=15, texttype=0))
hierarchical_decoder.add(gdstk.Label('vdd', (1.1525,9.415), layer=15, texttype=0))
hierarchical_decoder.add(gdstk.Label('vdd', (7.2225,9.415), layer=15, texttype=0))
hierarchical_decoder.add(gdstk.Label('vdd', (2.68,12.105), layer=15, texttype=0))
hierarchical_decoder.add(gdstk.Label('vdd', (1.1525,1.345), layer=15, texttype=0))
hierarchical_decoder.add(gdstk.Label('vdd', (7.2225,1.345), layer=15, texttype=0))
hierarchical_decoder.add(gdstk.Label('vdd', (7.2225,6.725), layer=15, texttype=0))
hierarchical_decoder.add(gdstk.Label('gnd', (7.2225,16.14), layer=15, texttype=0))
hierarchical_decoder.add(gdstk.Label('gnd', (1.1525,10.76), layer=15, texttype=0))
hierarchical_decoder.add(gdstk.Label('gnd', (2.68,0), layer=15, texttype=0))
hierarchical_decoder.add(gdstk.Label('gnd', (7.2225,0), layer=15, texttype=0))
hierarchical_decoder.add(gdstk.Label('gnd', (2.68,13.45), layer=15, texttype=0))
hierarchical_decoder.add(gdstk.Label('gnd', (7.2225,10.76), layer=15, texttype=0))
hierarchical_decoder.add(gdstk.Label('gnd', (1.1525,13.45), layer=15, texttype=0))
hierarchical_decoder.add(gdstk.Label('gnd', (7.2225,5.38), layer=15, texttype=0))
hierarchical_decoder.add(gdstk.Label('gnd', (2.68,8.07), layer=15, texttype=0))
hierarchical_decoder.add(gdstk.Label('gnd', (1.1525,0), layer=15, texttype=0))
hierarchical_decoder.add(gdstk.Label('gnd', (7.2225,18.83), layer=15, texttype=0))
hierarchical_decoder.add(gdstk.Label('gnd', (7.2225,21.52), layer=15, texttype=0))
hierarchical_decoder.add(gdstk.Label('gnd', (2.68,10.76), layer=15, texttype=0))
hierarchical_decoder.add(gdstk.Label('gnd', (1.1525,8.07), layer=15, texttype=0))
hierarchical_decoder.add(gdstk.Label('gnd', (2.68,5.38), layer=15, texttype=0))
hierarchical_decoder.add(gdstk.Label('gnd', (7.2225,8.07), layer=15, texttype=0))
hierarchical_decoder.add(gdstk.Label('gnd', (2.68,2.69), layer=15, texttype=0))
hierarchical_decoder.add(gdstk.Label('gnd', (1.1525,5.38), layer=15, texttype=0))
hierarchical_decoder.add(gdstk.Label('gnd', (7.2225,2.69), layer=15, texttype=0))
hierarchical_decoder.add(gdstk.Label('gnd', (1.1525,2.69), layer=15, texttype=0))
hierarchical_decoder.add(gdstk.Label('gnd', (7.2225,13.45), layer=15, texttype=0))

lib.write_gds('hierarchical_decoder.gds')
